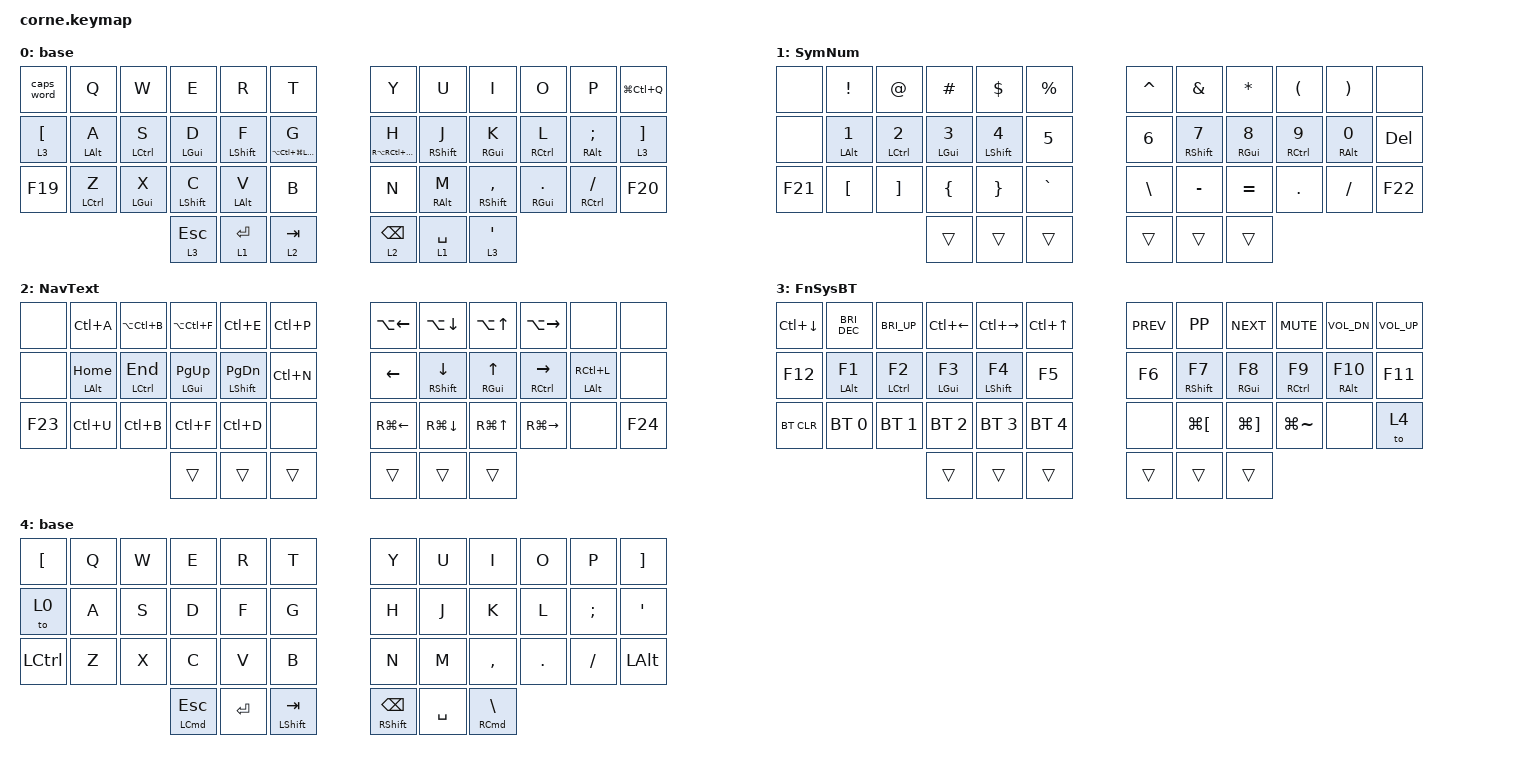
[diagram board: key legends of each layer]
/*
 * Copyright (c) 2020 The ZMK Contributors
 *
 * SPDX-License-Identifier: MIT
 */

#include <behaviors.dtsi>
#include <dt-bindings/zmk/bt.h>
#include <dt-bindings/zmk/keys.h>

&mt {
    flavor = "balanced";
    quick-tap-ms = <200>;
    tapping-term-ms = <250>;
    require-prior-idle-ms = <125>;
};

&lt {
    quick-tap-ms = <200>;
    tapping-term-ms = <250>;
};

/ {
    keymap {
        compatible = "zmk,keymap";

        default_layer {
            display-name = "base";
            bindings = <
&caps_word          &kp Q        &kp W        &kp E        &kp R           &kp T                      &kp Y                    &kp U        &kp I            &kp O         &kp P           &kp LG(LC(Q))
&lt 3 LEFT_BRACKET  &mt LALT A   &mt LCTRL S  &mt LGUI D   &mt LSHFT F     &mt LA(LC(LG(LSHFT))) G    &mt RA(RC(RG(RSHFT))) H  &mt RSHFT J  &mt RGUI K       &mt RCTRL L   &mt RALT SEMI   &lt 3 RIGHT_BRACKET
&kp F19             &mt LCTRL Z  &mt LGUI X   &mt LSHFT C  &mt LEFT_ALT V  &kp B                      &kp N                    &mt RALT M   &mt RSHFT COMMA  &mt RGUI DOT  &mt RCTRL FSLH  &kp F20
                                              &lt 3 ESC    &lt 1 RETURN    &lt 2 TAB                  &lt 2 BSPC               &lt 1 SPACE  &lt 3 SQT
            >;
        };

        symnum_layer {
            display-name = "SymNum";
            bindings = <
&none    &kp EXCL     &kp AT        &kp HASH     &kp DOLLAR    &kp PRCNT    &kp CARET  &kp AMPS      &kp STAR     &kp LPAR      &kp RPAR     &none
&none    &mt LALT N1  &mt LCTRL N2  &mt LGUI N3  &mt LSHFT N4  &kp N5       &kp N6     &mt RSHFT N7  &mt RGUI N8  &mt RCTRL N9  &mt RALT N0  &kp DELETE
&kp F21  &kp LBKT     &kp RBKT      &kp LBRC     &kp RBRC      &kp GRAVE    &kp BSLH   &kp MINUS     &kp EQUAL    &kp DOT       &kp FSLH     &kp F22
                                    &trans       &trans        &trans       &trans     &trans        &trans
            >;
        };

        navtext_layer {
            display-name = "NavText";
            bindings = <
&none    &kp LC(A)      &kp LA(LC(B))  &kp LA(LC(F))   &kp LC(E)        &kp LC(P)    &kp LA(LEFT_ARROW)  &kp LA(DOWN_ARROW)    &kp LA(UP_ARROW)  &kp LA(RIGHT_ARROW)  &none           &none
&none    &mt LALT HOME  &mt LCTRL END  &mt LGUI PG_UP  &mt LSHFT PG_DN  &kp LC(N)    &kp LEFT_ARROW      &mt RSHFT DOWN_ARROW  &mt RGUI UP       &mt RCTRL RIGHT      &mt LALT RC(L)  &none
&kp F23  &kp LC(U)      &kp LC(B)      &kp LC(F)       &kp LC(D)        &none        &kp RG(LEFT)        &kp RG(DOWN)          &kp RG(UP)        &kp RG(RIGHT)        &none           &kp F24
                                       &trans          &trans           &trans       &trans              &trans                &trans
            >;
        };

        fnsysbt_layer {
            display-name = "FnSysBT";
            bindings = <
&kp LC(DOWN)  &kp C_BRIGHTNESS_DEC  &kp C_BRI_UP  &kp LC(LEFT)  &kp LC(RIGHT)  &kp LC(UP)      &kp K_PREV  &kp K_PP              &kp K_NEXT             &kp K_MUTE            &kp C_VOL_DN  &kp C_VOL_UP
&kp F12       &mt LALT F1           &mt LCTRL F2  &mt LGUI F3   &mt LSHFT F4   &kp F5          &kp F6      &mt RSHFT F7          &mt RGUI F8            &mt RIGHT_CONTROL F9  &mt RALT F10  &kp F11
&bt BT_CLR    &bt BT_SEL 0          &bt BT_SEL 1  &bt BT_SEL 2  &bt BT_SEL 3   &bt BT_SEL 4    &none       &kp LG(LEFT_BRACKET)  &kp LG(RIGHT_BRACKET)  &kp LG(TILDE)         &none         &to 4
                                                  &trans        &trans         &trans          &trans      &trans                &trans
            >;
        };

        nomods_layer {
            display-name = "base";
            bindings = <
&kp LEFT_BRACKET  &kp Q  &kp W  &kp E                    &kp R    &kp T                 &kp Y                      &kp U      &kp I                        &kp O       &kp P     &kp RIGHT_BRACKET
&to 0             &kp A  &kp S  &kp D                    &kp F    &kp G                 &kp H                      &kp J      &kp K                        &kp L       &kp SEMI  &kp SQT
&kp LCTRL         &kp Z  &kp X  &kp C                    &kp V    &kp B                 &kp N                      &kp M      &kp COMMA                    &kp PERIOD  &kp FSLH  &kp LEFT_ALT
                                &mt LEFT_COMMAND ESCAPE  &kp RET  &mt LEFT_SHIFT TAB    &mt RIGHT_SHIFT BACKSPACE  &kp SPACE  &mt RIGHT_COMMAND BACKSLASH
            >;
        };
    };
};
